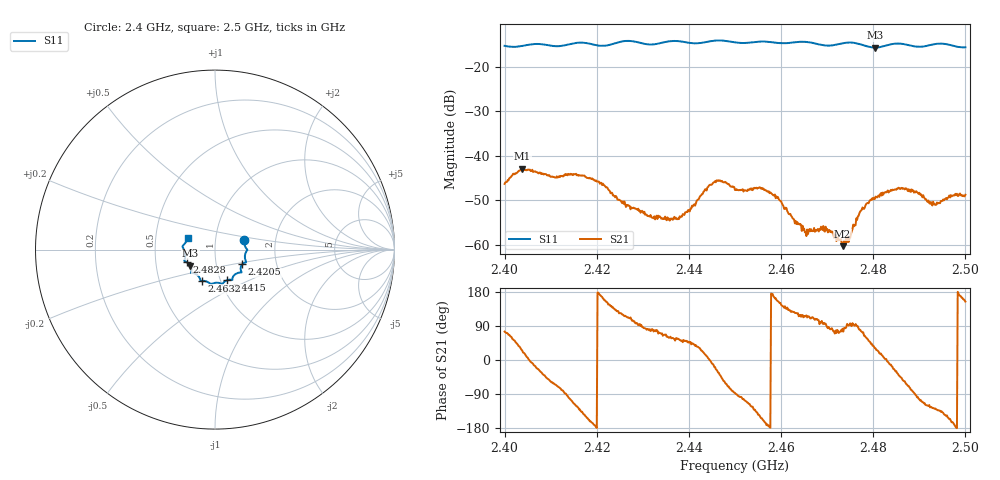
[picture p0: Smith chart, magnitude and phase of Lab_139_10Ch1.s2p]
# Hz S RI R 50
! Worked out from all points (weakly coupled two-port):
!   601 points, 2.4 GHz to 2.5 GHz, reference 50 ohm
!   highest |S21| = -42.92 dB at 2.4038 GHz (marker M1); lowest = -60.4 dB at 2.4733 GHz (marker M2)
!   lowest |S11| = -15.7 dB at 2.4803 GHz (marker M3), VSWR 1.39, Z = 37.4 - j6.85 ohm
!   |S11| at or under -10 dB: start of sweep to end of sweep
!   S12 and S22 are empty: the file has one direction only
!   S11 on the Smith chart (normalised r, x): 2.4 GHz: 1.38, +0.15; 2.4205 GHz: 1.34, -0.22; 2.4415 GHz: 1.07, -0.38; 2.4632 GHz: 0.82, -0.29; 2.4828 GHz: 0.72, -0.10; 2.5 GHz: 0.73, +0.10
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2.4e9  0.1636 0.0517  0.00125 0.00465  0 0  0 0
2.403833e9  0.1708 0.0114  0.00648 0.00302  0 0  0 0
2.416667e9  0.173 -0.07  -0.00431 -0.00408  0 0  0 0
2.4205e9  0.152 -0.0815  -0.00507 0.000451  0 0  0 0
2.426833e9  0.148 -0.1271  -0.00107 0.00256  0 0  0 0
2.433333e9  0.1001 -0.1516  0.000732 0.00199  0 0  0 0
2.437833e9  0.0944 -0.1689  0.00111 0.00158  0 0  0 0
2.4415e9  0.0659 -0.1707  0.00224 0.00183  0 0  0 0
2.445833e9  0.0415 -0.1923  0.00458 -0.00206  0 0  0 0
2.45e9  0.0242 -0.1862  0.000239 -0.0041  0 0  0 0
2.457333e9  -0.0278 -0.188  -0.00395 -0.000477  0 0  0 0
2.463167e9  -0.073 -0.1739  -0.00103 0.00153  0 0  0 0
2.466667e9  -0.0821 -0.1671  -0.00054 0.00132  0 0  0 0
2.470167e9  -0.1004 -0.14  0.000149 0.00136  0 0  0 0
2.473333e9  -0.1287 -0.1301  0.000124 0.000952  0 0  0 0
2.477333e9  -0.1313 -0.12  0.000582 0.00233  0 0  0 0
2.480333e9  -0.1376 -0.0891  0.00278 0.00169  0 0  0 0
2.482833e9  -0.1584 -0.0702  0.00386 0.000155  0 0  0 0
2.483333e9  -0.1623 -0.0683  0.00383 -0.000466  0 0  0 0
2.488833e9  -0.1655 -0.0374  0.000229 -0.00384  0 0  0 0
2.493167e9  -0.1784 0.0106  -0.00173 -0.00225  0 0  0 0
2.5e9  -0.1525 0.0643  -0.00327 0.00159  0 0  0 0
